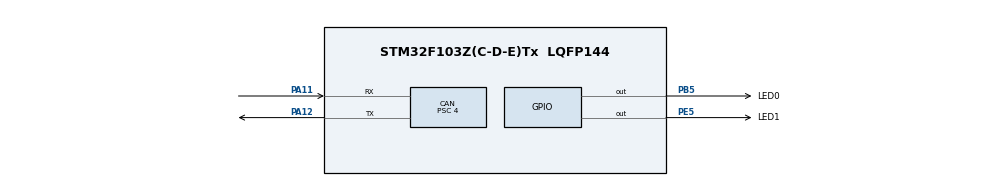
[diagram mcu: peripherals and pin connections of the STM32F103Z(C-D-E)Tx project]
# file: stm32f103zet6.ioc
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CAN.BS1=CAN_BS1_14TQ
CAN.BS2=CAN_BS2_3TQ
CAN.CalculateBaudRate=500000
CAN.CalculateTimeBit=2000
CAN.CalculateTimeQuantum=111.11111111111111
CAN.Prescaler=4
Mcu.Family=STM32F1
Mcu.Name=STM32F103Z(C-D-E)Tx
Mcu.Package=LQFP144
NVIC.PriorityGroup=NVIC_PRIORITYGROUP_4
OSC_IN.Mode=HSE-External-Oscillator
OSC_IN.Signal=RCC_OSC_IN
OSC_OUT.Mode=HSE-External-Oscillator
OSC_OUT.Signal=RCC_OSC_OUT
PA11.Mode=CAN_Activate
PA11.Signal=CAN_RX
PA12.Mode=CAN_Activate
PA12.Signal=CAN_TX
PA13.Mode=Serial_Wire
PA13.Signal=SYS_JTMS-SWDIO
PA14.Mode=Serial_Wire
PA14.Signal=SYS_JTCK-SWCLK
PB5.GPIO_Label=LED0
PB5.GPIO_ModeDefaultOutputPP=GPIO_MODE_OUTPUT_PP
PB5.GPIO_PuPd=GPIO_PULLDOWN
PB5.GPIO_Speed=GPIO_SPEED_FREQ_MEDIUM
PB5.Signal=GPIO_Output
PE5.GPIO_Label=LED1
PE5.GPIO_PuPd=GPIO_PULLDOWN
PE5.GPIO_Speed=GPIO_SPEED_FREQ_MEDIUM
PE5.Signal=GPIO_Output
ProjectManager.HeapSize=0x200
ProjectManager.StackSize=0x400
ProjectManager.TargetToolchain=MDK-ARM V5.32
RCC.AHBFreq_Value=72000000
RCC.APB1CLKDivider=RCC_HCLK_DIV2
RCC.APB1Freq_Value=36000000
RCC.APB1TimFreq_Value=72000000
RCC.APB2Freq_Value=72000000
RCC.APB2TimFreq_Value=72000000
RCC.HCLKFreq_Value=72000000
RCC.PLLMUL=RCC_PLL_MUL9
RCC.PLLSourceVirtual=RCC_PLLSOURCE_HSE
RCC.SYSCLKFreq_VALUE=72000000
RCC.SYSCLKSource=RCC_SYSCLKSOURCE_PLLCLK
RCC.USBFreq_Value=72000000
board=custom

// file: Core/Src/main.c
/* USER CODE BEGIN Header */
/**
  ******************************************************************************
  * @file           : main.c
  * @brief          : Main program body
  ******************************************************************************
  * @attention
  *
  * Copyright (c) 2025 STMicroelectronics.
  * All rights reserved.
  *
  * This software is licensed under terms that can be found in the LICENSE file
  * in the root directory of this software component.
  * If no LICENSE file comes with this software, it is provided AS-IS.
  *
  ******************************************************************************
  */
/* USER CODE END Header */
#include "main.h"
#include "can.h"
#include "gpio.h"

/* USER CODE BEGIN PM */
void Test_CAN_Send_Msg(void) {
    CAN_TxHeaderTypeDef TxHeader;
    uint32_t TxMailbox;
    uint8_t TxData[8] = {0x01, 0x02, 0x03, 0x04, 0x05, 0x06, 0x07, 0x08};
    /* 配置CAN发送帧参数 */
    TxHeader.StdId = 0x123;          // 标准标识符，可根据实际需求修改
    TxHeader.ExtId = 0;              // 对于标准帧，扩展标识符无效
    TxHeader.IDE = CAN_ID_STD;       // 标准帧
    TxHeader.RTR = CAN_RTR_DATA;     // 数据帧
    TxHeader.DLC = 8;                // 数据长度为8字节
    TxHeader.TransmitGlobalTime = DISABLE; // 不发送全局时间
    /* 如果没有发送邮箱，延迟等待（如果有实时操作系统，发起调度是更加好的方案） */
    if (HAL_CAN_GetTxMailboxesFreeLevel(&hcan) == 0) {
        LL_mDelay(1);
    }
    /* 发送CAN消息 */
    if (HAL_CAN_AddTxMessage(&hcan, &TxHeader, TxData, &TxMailbox) != HAL_OK) {
    /* 发送失败，进入错误处理 */
        Error_Handler();
    }
}
/* USER CODE END PM */

void SystemClock_Config(void);

int main(void)
{

  /* MCU Configuration--------------------------------------------------------*/

  /* Reset of all peripherals, Initializes the Flash interface and the Systick. */
  HAL_Init();

  /* Configure the system clock */
  SystemClock_Config();

  /* Initialize all configured peripherals */
  MX_GPIO_Init();
  MX_CAN_Init();
  /* USER CODE BEGIN 2 */
  if (HAL_CAN_Start(&hcan) != HAL_OK) {
      Error_Handler(); // 启动失败，进入错误处理
  }
  /* USER CODE END 2 */

  /* Infinite loop */
  while (1)
  {

    /* USER CODE BEGIN 3 */
    LL_GPIO_TogglePin(LED0_GPIO_Port,LED0_Pin);
    Test_CAN_Send_Msg();
    LL_mDelay(100);
  }
  /* USER CODE END 3 */
}

void SystemClock_Config(void)
{
  LL_FLASH_SetLatency(LL_FLASH_LATENCY_2);
  while(LL_FLASH_GetLatency()!= LL_FLASH_LATENCY_2)
  {
  }
  LL_RCC_HSE_Enable();

   /* Wait till HSE is ready */
  while(LL_RCC_HSE_IsReady() != 1)
  {

  }
  LL_RCC_PLL_ConfigDomain_SYS(LL_RCC_PLLSOURCE_HSE_DIV_1, LL_RCC_PLL_MUL_9);
  LL_RCC_PLL_Enable();

   /* Wait till PLL is ready */
  while(LL_RCC_PLL_IsReady() != 1)
  {

  }
  LL_RCC_SetAHBPrescaler(LL_RCC_SYSCLK_DIV_1);
  LL_RCC_SetAPB1Prescaler(LL_RCC_APB1_DIV_2);
  LL_RCC_SetAPB2Prescaler(LL_RCC_APB2_DIV_1);
  LL_RCC_SetSysClkSource(LL_RCC_SYS_CLKSOURCE_PLL);

   /* Wait till System clock is ready */
  while(LL_RCC_GetSysClkSource() != LL_RCC_SYS_CLKSOURCE_STATUS_PLL)
  {

  }
  LL_SetSystemCoreClock(72000000);

   /* Update the time base */
  if (HAL_InitTick (TICK_INT_PRIORITY) != HAL_OK)
  {
    Error_Handler();
  }
}

void Error_Handler(void)
{
  __disable_irq();
  while (1)
  {
  }
}
